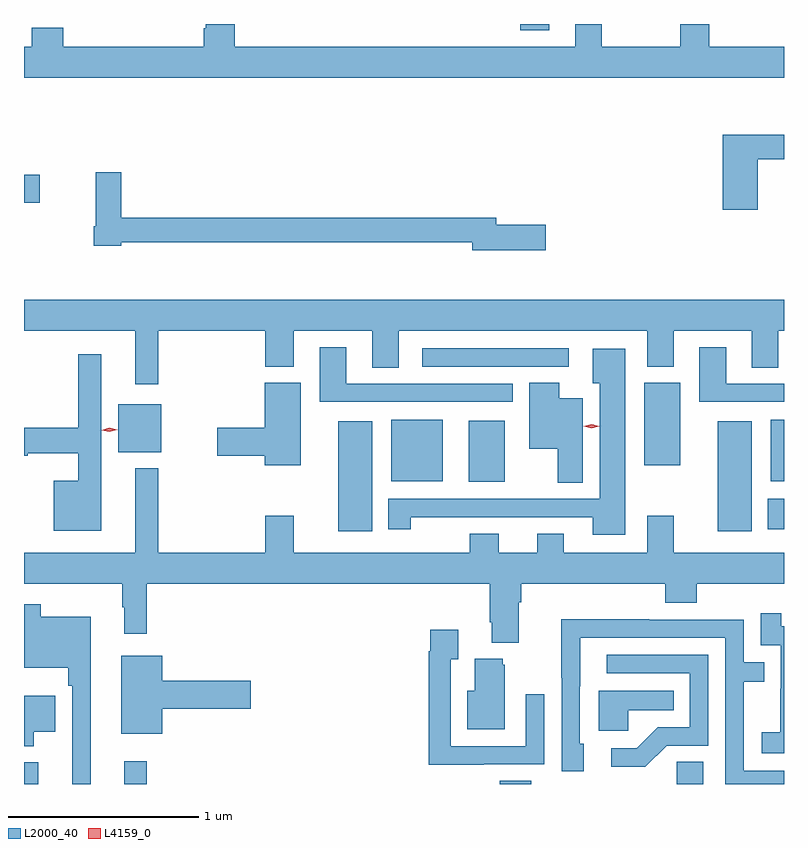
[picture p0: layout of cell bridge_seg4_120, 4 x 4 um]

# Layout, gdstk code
import gdstk
lib = gdstk.Library(unit=1e-6, precision=1e-09)
def R(c, l, rs):  # rectangles x0, y0, x1, y1
    for r in rs: c.add(gdstk.rectangle(r[:2], r[2:], *l))
def P(c, l, *ps):  # polygons
    for p in ps: c.add(gdstk.Polygon(p, *l))
L2000_40 = (2000, 40)
L4159_0 = (4159, 0)

bridge_seg4_120 = lib.new_cell('bridge_seg4_120')
R(bridge_seg4_120, L2000_40, [(351.02,774.455,351.095,774.569), (351.548,774.455,351.665,774.574), (353.525,774.455,353.69,774.473), (354.456,774.455,354.595,774.572), (352.673,775.784,352.852,776.365), (354.671,775.784,354.85,776.365), (354.935,775.797,355.02,775.956), (353.36,776.045,353.551,776.368), (352.952,776.048,353.224,776.371), (354.95,776.048,355.02,776.371), (354.284,776.132,354.475,776.566), (351.515,776.201,351.742,776.455), (353.115,776.652,353.887,776.748), (351.02,777.515,351.103,777.662), (353.633,778.422,353.785,778.455)])
P(bridge_seg4_120, L2000_40, [(355.02,778.336),(354.626,778.336),(354.626,778.455),(354.473,778.455),(354.473,778.336),(354.061,778.336),(354.061,778.455),(353.921,778.455),(353.921,778.336),(352.13,778.336),(352.13,778.455),(351.977,778.455),(351.977,778.432),(351.965,778.432),(351.965,778.336),(351.227,778.336),(351.227,778.435),(351.062,778.435),(351.062,778.336),(351.02,778.336),(351.02,778.172),(355.02,778.172)],
  [(354.881,777.742),(355.02,777.742),(355.02,777.871),(354.698,777.871),(354.698,777.477),(354.881,777.477)],
  [(353.767,777.398),(353.506,777.398),(353.506,777.434),(351.533,777.434),(351.533,777.676),(351.398,777.676),(351.398,777.391),(351.386,777.391),(351.386,777.287),(351.533,777.287),(351.533,777.306),(353.378,777.306),(353.378,777.263),(353.767,777.263)],
  [(351.727,776.84),(352.289,776.84),(352.289,776.651),(352.441,776.651),(352.441,776.84),(352.853,776.84),(352.853,776.647),(352.993,776.647),(352.993,776.84),(354.299,776.84),(354.299,776.651),(354.439,776.651),(354.439,776.84),(354.851,776.84),(354.851,776.647),(354.991,776.647),(354.991,776.84),(355.02,776.84),(355.02,777.004),(351.02,777.004),(351.02,776.84),(351.605,776.84),(351.605,776.559),(351.727,776.559)],
  [(355.02,776.562),(354.715,776.562),(354.715,776.755),(354.575,776.755),(354.575,776.466),(355.02,776.466)],
  [(353.593,776.562),(352.717,776.562),(352.717,776.755),(352.577,776.755),(352.577,776.466),(353.593,776.466)],
  [(354.184,776.746),(354.014,776.746),(354.014,776.564),(354.05,776.564),(354.05,775.956),(352.937,775.956),(352.937,775.797),(353.055,775.797),(353.055,775.859),(353.282,775.859),(353.282,775.86),(354.014,775.86),(354.014,775.766),(354.184,775.766)],
  [(351.427,776.716),(351.306,776.716),(351.306,776.33),(351.02,776.33),(351.02,776.183),(351.04,776.183),(351.04,776.195),(351.306,776.195),(351.306,776.05),(351.176,776.05),(351.176,775.787),(351.427,775.787)],
  [(353.962,776.485),(353.836,776.485),(353.836,776.567),(353.678,776.567),(353.678,776.219),(353.828,776.219),(353.828,776.041),(353.962,776.041)],
  [(352.477,776.566),(352.286,776.566),(352.286,776.33),(352.038,776.33),(352.038,776.183),(352.286,776.183),(352.286,776.132),(352.477,776.132)],
  [(353.623,775.412),(353.636,775.412),(353.636,775.508),(354.395,775.508),(354.395,775.409),(354.56,775.409),(354.56,775.508),(355.02,775.508),(355.02,775.672),(354.439,775.672),(354.439,775.867),(354.299,775.867),(354.299,775.672),(353.86,775.672),(353.86,775.771),(353.72,775.771),(353.72,775.672),(353.518,775.672),(353.518,775.771),(353.366,775.771),(353.366,775.672),(352.441,775.672),(352.441,775.867),(352.289,775.867),(352.289,775.672),(351.727,775.672),(351.727,776.116),(351.605,776.116),(351.605,775.672),(351.02,775.672),(351.02,775.508),(351.537,775.508),(351.537,775.385),(351.548,775.385),(351.548,775.245),(351.665,775.245),(351.665,775.508),(353.471,775.508),(353.471,775.306),(353.483,775.306),(353.483,775.199),(353.623,775.199)],
  [(351.37,775.336),(351.109,775.336),(351.109,775.402),(351.02,775.402),(351.02,775.067),(351.253,775.067),(351.253,774.971),(351.273,774.971),(351.273,774.455),(351.37,774.455)],
  [(355.02,775.284),(355.006,775.284),(355.006,775.354),(354.897,775.354),(354.897,775.185),(355.002,775.185),(355.002,774.956),(355.001,774.956),(355.001,774.727),(354.903,774.727),(354.903,774.617),(355.02,774.617)],
  [(355.02,774.525),(354.807,774.525),(354.807,774.994),(354.917,774.994),(354.917,775.095),(354.807,775.095),(354.807,775.32),(354.311,775.32),(354.311,775.322),(353.848,775.322),(353.848,775.015),(353.85,775.015),(353.85,774.522),(353.965,774.522),(353.965,774.666),(353.946,774.666),(353.946,774.97),(353.947,774.97),(353.947,775.224),(354.711,775.224),(354.711,774.455),(355.02,774.455)],
  [(353.441,774.558),(353.757,774.558),(353.757,774.928),(353.661,774.928),(353.661,774.654),(353.265,774.654),(353.265,775.111),(353.305,775.111),(353.305,775.267),(353.157,775.267),(353.157,775.154),(353.149,775.154),(353.149,774.557),(353.441,774.557)],
  [(354.402,774.657),(354.621,774.657),(354.621,775.134),(354.087,775.134),(354.087,775.038),(354.525,775.038),(354.525,774.753),(354.356,774.753),(354.245,774.642),(354.111,774.642),(354.111,774.545),(354.289,774.545)],
  [(351.748,774.851),(352.213,774.851),(352.213,774.998),(351.748,774.998),(351.748,775.129),(351.533,775.129),(351.533,774.719),(351.748,774.719)],
  [(353.551,775.083),(353.54,775.083),(353.54,775.114),(353.393,775.114),(353.393,774.946),(353.354,774.946),(353.354,774.743),(353.551,774.743)],
  [(354.201,774.842),(354.44,774.842),(354.44,774.946),(354.044,774.946),(354.044,774.734),(354.201,774.734)],
  [(351.07,774.731),(351.184,774.731),(351.184,774.919),(351.02,774.919),(351.02,774.654),(351.07,774.654)])
P(bridge_seg4_120, L4159_0, [(354.008,776.328),(353.967,776.338),(353.967,776.338),(353.967,776.338),(354.008,776.348),(354.048,776.338),(354.049,776.338),(354.048,776.338)],
  [(351.469,776.309),(351.429,776.317),(351.428,776.318),(351.429,776.318),(351.469,776.329),(351.51,776.32),(351.51,776.32),(351.51,776.32)])

lib.write_gds('bridge_seg4_120.gds')
